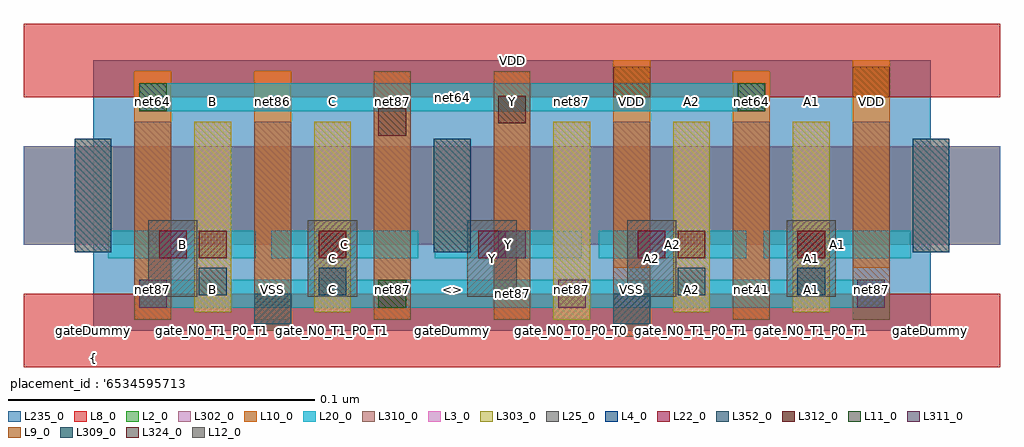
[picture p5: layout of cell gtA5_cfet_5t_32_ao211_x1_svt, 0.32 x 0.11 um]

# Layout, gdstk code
import gdstk
lib = gdstk.Library(unit=1e-6, precision=2.5e-10)
def R(c, l, rs):  # rectangles x0, y0, x1, y1
    for r in rs: c.add(gdstk.rectangle(r[:2], r[2:], *l))
def A(c, l, x, y, w, h, nx, ny, dx, dy):  # array of equal rectangles
    R(c, l, [(x+i*dx, y+j*dy, x+i*dx+w, y+j*dy+h) for i in range(nx) for j in range(ny)])
L2_0 = (2, 0)
L3_0 = (3, 0)
L4_0 = (4, 0)
L8_0 = (8, 0)
L9_0 = (9, 0)
L10_0 = (10, 0)
L11_0 = (11, 0)
L12_0 = (12, 0)
L20_0 = (20, 0)
L22_0 = (22, 0)
L25_0 = (25, 0)
L235_0 = (235, 0)
L302_0 = (302, 0)
L303_0 = (303, 0)
L309_0 = (309, 0)
L310_0 = (310, 0)
L311_0 = (311, 0)
L312_0 = (312, 0)
L324_0 = (324, 0)
L352_0 = (352, 0)

gta5_cfet_5t_32_ao211_x1 = lib.new_cell('gtA5_cfet_5t_32_ao211_x1_svt')
R(gta5_cfet_5t_32_ao211_x1, L2_0, [(-0.0225,0.028,0.2955,0.06)])
R(gta5_cfet_5t_32_ao211_x1, L3_0, [(0.15,0.0035,0.162,0.068), (0.033,0.006,0.045,0.068), (0.072,0.006,0.084,0.068), (0.189,0.006,0.201,0.068), (0.228,0.006,0.24,0.068), (-0.006,0.0255,0.006,0.0625), (0.111,0.0255,0.123,0.0625), (0.267,0.0255,0.279,0.0625)])
R(gta5_cfet_5t_32_ao211_x1, L4_0, [(-0.006,0.0255,0.006,0.0625), (0.111,0.0255,0.123,0.0625), (0.267,0.0255,0.279,0.0625)])
R(gta5_cfet_5t_32_ao211_x1, L8_0, [(-0.0225,-0.012,0.2955,0.012), (-0.0225,0.076,0.2955,0.1)])
R(gta5_cfet_5t_32_ao211_x1, L9_0, [(0.1695,0.076,0.1815,0.086), (0.2475,0.076,0.2595,0.086)])
A(gta5_cfet_5t_32_ao211_x1, L10_0, 0.0135, 0.0035, 0.012, 0.081, 4, 1, 0.039, 0)
R(gta5_cfet_5t_32_ao211_x1, L10_0, [(0.2085,0.0035,0.2205,0.0845), (0.1695,0.0205,0.1815,0.088), (0.2475,0.0205,0.2595,0.088)])
R(gta5_cfet_5t_32_ao211_x1, L11_0, [(0.093,0.0075,0.102,0.0165), (0.015,0.0715,0.024,0.0805), (0.21,0.0715,0.219,0.0805)])
R(gta5_cfet_5t_32_ao211_x1, L12_0, [(0.1515,0.0075,0.1605,0.0165)])
R(gta5_cfet_5t_32_ao211_x1, L20_0, [(0.015,0.0075,0.258,0.0165), (0.005,0.0235,0.053,0.0325), (0.058,0.0235,0.106,0.0325), (0.1113,0.0235,0.1593,0.0325), (0.1648,0.0235,0.2127,0.0325), (0.2185,0.0235,0.2665,0.0325), (0.015,0.0715,0.219,0.0805)])
A(gta5_cfet_5t_32_ao211_x1, L22_0, 0.0215, 0.0235, 0.009, 0.009, 5, 1, 0.052, 0)
A(gta5_cfet_5t_32_ao211_x1, L25_0, 0.018, 0.011, 0.016, 0.025, 5, 1, 0.052, 0)
R(gta5_cfet_5t_32_ao211_x1, L235_0, [(0,0,0.273,0.088)])
R(gta5_cfet_5t_32_ao211_x1, L302_0, [(-0.0225,0.028,0.2955,0.06)])
R(gta5_cfet_5t_32_ao211_x1, L303_0, [(0.15,0.0035,0.162,0.068), (0.033,0.006,0.045,0.068), (0.072,0.006,0.084,0.068), (0.189,0.006,0.201,0.068), (0.228,0.006,0.24,0.068), (-0.006,0.0255,0.006,0.0625), (0.111,0.0255,0.123,0.0625), (0.267,0.0255,0.279,0.0625)])
R(gta5_cfet_5t_32_ao211_x1, L309_0, [(0.0525,0.002,0.0645,0.012), (0.1695,0.002,0.1815,0.012)])
R(gta5_cfet_5t_32_ao211_x1, L310_0, [(0.1695,-0.002,0.1815,0.068), (0.0525,0,0.0645,0.068), (0.0135,0.0035,0.0255,0.068), (0.0915,0.0035,0.1035,0.0845), (0.1305,0.0035,0.1425,0.0845), (0.2085,0.0035,0.2205,0.068), (0.2475,0.0035,0.2595,0.068)])
R(gta5_cfet_5t_32_ao211_x1, L311_0, [(0.015,0.0075,0.024,0.0165), (0.249,0.0075,0.258,0.0165), (0.132,0.0235,0.141,0.0325)])
R(gta5_cfet_5t_32_ao211_x1, L312_0, [(0.0345,0.0235,0.0435,0.0325), (0.0735,0.0235,0.0825,0.0325), (0.1905,0.0235,0.1995,0.0325), (0.2295,0.0235,0.2385,0.0325)])
R(gta5_cfet_5t_32_ao211_x1, L324_0, [(0.093,0.0635,0.102,0.0725), (0.132,0.0675,0.141,0.0765)])
R(gta5_cfet_5t_32_ao211_x1, L352_0, [(0.0345,0.0115,0.0435,0.0205), (0.0735,0.0115,0.0825,0.0205), (0.1905,0.0115,0.1995,0.0205), (0.2295,0.0115,0.2385,0.0205)])
gta5_cfet_5t_32_ao211_x1.add(gdstk.Label('net87', (0.1365,0.012), layer=100, texttype=100))
gta5_cfet_5t_32_ao211_x1.add(gdstk.Label('B', (0.029,0.028), layer=100, texttype=100))
gta5_cfet_5t_32_ao211_x1.add(gdstk.Label('C', (0.082,0.028), layer=100, texttype=100))
gta5_cfet_5t_32_ao211_x1.add(gdstk.Label('Y', (0.1353,0.028), layer=100, texttype=100))
gta5_cfet_5t_32_ao211_x1.add(gdstk.Label('A2', (0.1888,0.028), layer=100, texttype=100))
gta5_cfet_5t_32_ao211_x1.add(gdstk.Label('A1', (0.2425,0.028), layer=100, texttype=100))
gta5_cfet_5t_32_ao211_x1.add(gdstk.Label('net64', (0.117,0.076), layer=100, texttype=100))
gta5_cfet_5t_32_ao211_x1.add(gdstk.Label('gateDummy', (0,0), layer=103, texttype=103))
gta5_cfet_5t_32_ao211_x1.add(gdstk.Label('sd_N0_T0_P0_T4', (0.0195,0), layer=103, texttype=103))
gta5_cfet_5t_32_ao211_x1.add(gdstk.Label('gate_N0_T1_P0_T1', (0.039,0), layer=103, texttype=103))
gta5_cfet_5t_32_ao211_x1.add(gdstk.Label('sd_N0_VSS', (0.0585,0), layer=103, texttype=103))
gta5_cfet_5t_32_ao211_x1.add(gdstk.Label('gate_N0_T1_P0_T1', (0.078,0), layer=103, texttype=103))
gta5_cfet_5t_32_ao211_x1.add(gdstk.Label('sd_N0_T0_P0_T0', (0.0975,0), layer=103, texttype=103))
gta5_cfet_5t_32_ao211_x1.add(gdstk.Label('gateDummy', (0.117,0), layer=103, texttype=103))
gta5_cfet_5t_32_ao211_x1.add(gdstk.Label('sd_N0_T1_P0_T1', (0.1365,0), layer=103, texttype=103))
gta5_cfet_5t_32_ao211_x1.add(gdstk.Label('gate_N0_T0_P0_T0', (0.156,0), layer=103, texttype=103))
gta5_cfet_5t_32_ao211_x1.add(gdstk.Label('sd_N0_VSS_P0_VDD', (0.1755,0), layer=103, texttype=103))
gta5_cfet_5t_32_ao211_x1.add(gdstk.Label('gate_N0_T1_P0_T1', (0.195,0), layer=103, texttype=103))
gta5_cfet_5t_32_ao211_x1.add(gdstk.Label('sd_N0_abut_P0_T4', (0.2145,0), layer=103, texttype=103))
gta5_cfet_5t_32_ao211_x1.add(gdstk.Label('gate_N0_T1_P0_T1', (0.234,0), layer=103, texttype=103))
gta5_cfet_5t_32_ao211_x1.add(gdstk.Label('sd_N0_T0_P0_VDD', (0.2535,0), layer=103, texttype=103))
gta5_cfet_5t_32_ao211_x1.add(gdstk.Label('gateDummy', (0.273,0), layer=103, texttype=103))
gta5_cfet_5t_32_ao211_x1.add(gdstk.Label('}', (0,-0.0963), layer=104, texttype=104))
gta5_cfet_5t_32_ao211_x1.add(gdstk.Label('  power : None', (0,-0.0875), layer=104, texttype=104))
gta5_cfet_5t_32_ao211_x1.add(gdstk.Label('  performance : None', (0,-0.0788), layer=104, texttype=104))
gta5_cfet_5t_32_ao211_x1.add(gdstk.Label("  solution_hash : '8264057423932486321'", (0,-0.07), layer=104, texttype=104))
gta5_cfet_5t_32_ao211_x1.add(gdstk.Label('  number_m2 : 0', (0,-0.0612), layer=104, texttype=104))
gta5_cfet_5t_32_ao211_x1.add(gdstk.Label('  number_m1 : 5', (0,-0.0525), layer=104, texttype=104))
gta5_cfet_5t_32_ao211_x1.add(gdstk.Label('  number_m0cuts : 0', (0,-0.0438), layer=104, texttype=104))
gta5_cfet_5t_32_ao211_x1.add(gdstk.Label('  number_m0 : 7', (0,-0.035), layer=104, texttype=104))
gta5_cfet_5t_32_ao211_x1.add(gdstk.Label("  solution_number : '0000'", (0,-0.0262), layer=104, texttype=104))
gta5_cfet_5t_32_ao211_x1.add(gdstk.Label("  placement_id : '6534595713075289968'", (0,-0.0175), layer=104, texttype=104))
gta5_cfet_5t_32_ao211_x1.add(gdstk.Label('{', (0,-0.0088), layer=104, texttype=104))
gta5_cfet_5t_32_ao211_x1.add(gdstk.Label('net87', (0.0195,0.0132), layer=105, texttype=105))
gta5_cfet_5t_32_ao211_x1.add(gdstk.Label('B', (0.039,0.0132), layer=105, texttype=105))
gta5_cfet_5t_32_ao211_x1.add(gdstk.Label('VSS', (0.0585,0.0132), layer=105, texttype=105))
gta5_cfet_5t_32_ao211_x1.add(gdstk.Label('C', (0.078,0.0132), layer=105, texttype=105))
gta5_cfet_5t_32_ao211_x1.add(gdstk.Label('net87', (0.0975,0.0132), layer=105, texttype=105))
gta5_cfet_5t_32_ao211_x1.add(gdstk.Label('<>', (0.117,0.0132), layer=105, texttype=105))
gta5_cfet_5t_32_ao211_x1.add(gdstk.Label('Y', (0.1365,0.0132), layer=105, texttype=105))
gta5_cfet_5t_32_ao211_x1.add(gdstk.Label('net87', (0.156,0.0132), layer=105, texttype=105))
gta5_cfet_5t_32_ao211_x1.add(gdstk.Label('VSS', (0.1755,0.0132), layer=105, texttype=105))
gta5_cfet_5t_32_ao211_x1.add(gdstk.Label('A2', (0.195,0.0132), layer=105, texttype=105))
gta5_cfet_5t_32_ao211_x1.add(gdstk.Label('net41', (0.2145,0.0132), layer=105, texttype=105))
gta5_cfet_5t_32_ao211_x1.add(gdstk.Label('A1', (0.234,0.0132), layer=105, texttype=105))
gta5_cfet_5t_32_ao211_x1.add(gdstk.Label('net87', (0.2535,0.0132), layer=105, texttype=105))
gta5_cfet_5t_32_ao211_x1.add(gdstk.Label('net64', (0.0195,0.0747), layer=105, texttype=105))
gta5_cfet_5t_32_ao211_x1.add(gdstk.Label('B', (0.039,0.0747), layer=105, texttype=105))
gta5_cfet_5t_32_ao211_x1.add(gdstk.Label('net86', (0.0585,0.0747), layer=105, texttype=105))
gta5_cfet_5t_32_ao211_x1.add(gdstk.Label('C', (0.078,0.0747), layer=105, texttype=105))
gta5_cfet_5t_32_ao211_x1.add(gdstk.Label('net87', (0.0975,0.0747), layer=105, texttype=105))
gta5_cfet_5t_32_ao211_x1.add(gdstk.Label('<>', (0.117,0.0747), layer=105, texttype=105))
gta5_cfet_5t_32_ao211_x1.add(gdstk.Label('Y', (0.1365,0.0747), layer=105, texttype=105))
gta5_cfet_5t_32_ao211_x1.add(gdstk.Label('net87', (0.156,0.0747), layer=105, texttype=105))
gta5_cfet_5t_32_ao211_x1.add(gdstk.Label('VDD', (0.1755,0.0747), layer=105, texttype=105))
gta5_cfet_5t_32_ao211_x1.add(gdstk.Label('A2', (0.195,0.0747), layer=105, texttype=105))
gta5_cfet_5t_32_ao211_x1.add(gdstk.Label('net64', (0.2145,0.0747), layer=105, texttype=105))
gta5_cfet_5t_32_ao211_x1.add(gdstk.Label('A1', (0.234,0.0747), layer=105, texttype=105))
gta5_cfet_5t_32_ao211_x1.add(gdstk.Label('VDD', (0.2535,0.0747), layer=105, texttype=105))
gta5_cfet_5t_32_ao211_x1.add(gdstk.Label('VSS', (0.1365,0), layer=8, texttype=0))
gta5_cfet_5t_32_ao211_x1.add(gdstk.Label('VDD', (0.1365,0.088), layer=8, texttype=0))
gta5_cfet_5t_32_ao211_x1.add(gdstk.Label('B', (0.026,0.0235), layer=25, texttype=0))
gta5_cfet_5t_32_ao211_x1.add(gdstk.Label('C', (0.078,0.0235), layer=25, texttype=0))
gta5_cfet_5t_32_ao211_x1.add(gdstk.Label('Y', (0.13,0.0235), layer=25, texttype=0))
gta5_cfet_5t_32_ao211_x1.add(gdstk.Label('A2', (0.182,0.0235), layer=25, texttype=0))
gta5_cfet_5t_32_ao211_x1.add(gdstk.Label('A1', (0.234,0.0235), layer=25, texttype=0))
gta5_cfet_5t_32_ao211_x1.add(gdstk.Label('gtA5_cfet_5t_32_ao211_x1_rvt_0', (0,0), layer=235, texttype=0))

lib.write_gds('gtA5_cfet_5t_32_ao211_x1_svt.gds')
